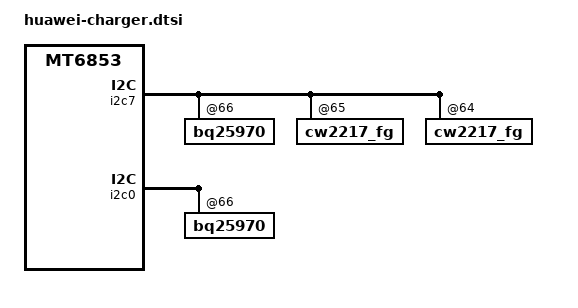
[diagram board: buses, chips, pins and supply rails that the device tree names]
#include "../huawei_charger/mt6853_ang_huawei_charger.dtsi"
&i2c7 {
	rt9426_battery@55{
		status = "disabled";
	};

	bq27z561_fg@55 {
		reg = <0x55>;
		compatible = "huawei,bq27z561";
		status = "disabled";
	};

	bq25970@65 {
		status = "disabled";
	};
	bq25970@66 {
		status = "ok";
	};

	cw2217_fg@65 {
		status = "ok";
	};

	cw2217_fg@64 {
		status = "ok";
	};

};

&i2c0 {
	bq25970@65 {
		status = "disabled";
	};
	bq25970@66 {
		status = "ok";
	};
};

&multi_btb_temp {
	sensor-names =
		"mtk_batt_temp", "comp_para",
		"cw2217", "comp_para2";
};
